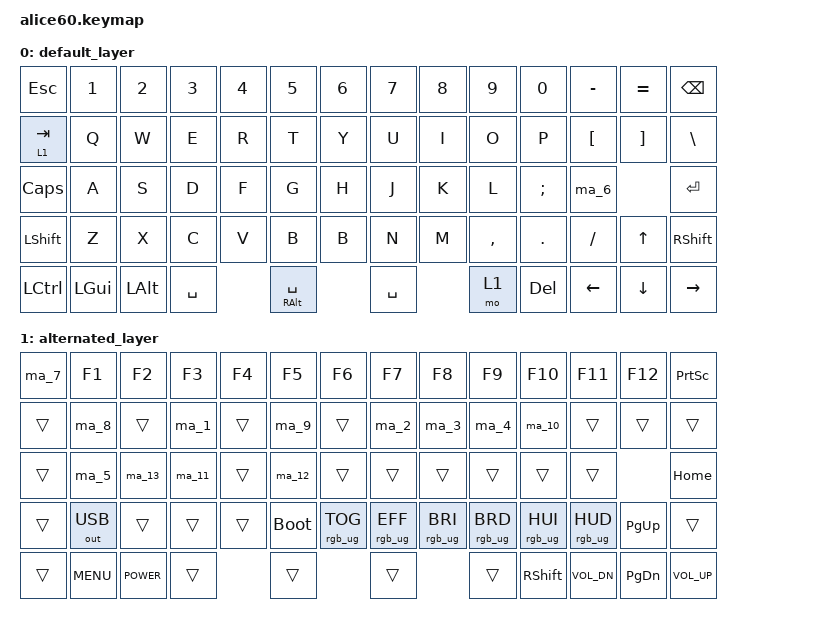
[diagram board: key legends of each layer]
/*
 * Copyright (c) 2020 The ZMK Contributors
 *
 * SPDX-License-Identifier: MIT
 */

#include <behaviors.dtsi>
#include <dt-bindings/zmk/keys.h>
#include <dt-bindings/zmk/outputs.h>
#include <dt-bindings/zmk/rgb.h>

#define DEF 0
#define ALT 1

/ {
    macros {
        /* è: `E */

        ma_1: ma_1 {
            label = "ma_1";
            compatible = "zmk,behavior-macro";
            #binding-cells = <0>;
            bindings = <&macro_tap>, <&kp GRAVE>, <&macro_tap>, <&kp E>;
        };

        /* ù: `U */

        ma_2: ma_2 {
            label = "ma_2";
            compatible = "zmk,behavior-macro";
            #binding-cells = <0>;
            bindings = <&macro_tap>, <&kp GRAVE>, <&macro_tap>, <&kp U>;
        };

        /* ì: `I */

        ma_3: ma_3 {
            label = "ma_3";
            compatible = "zmk,behavior-macro";
            #binding-cells = <0>;
            bindings = <&macro_tap>, <&kp GRAVE>, <&macro_tap>, <&kp I>;
        };

        /* ò: `O */

        ma_4: ma_4 {
            label = "ma_4";
            compatible = "zmk,behavior-macro";
            #binding-cells = <0>;
            bindings = <&macro_tap>, <&kp GRAVE>, <&macro_tap>, <&kp O>;
        };

        /* à: `A */

        ma_5: ma_5 {
            label = "ma_5";
            compatible = "zmk,behavior-macro";
            #binding-cells = <0>;
            bindings = <&macro_tap>, <&kp GRAVE>, <&macro_tap>, <&kp A>;
        };

        /* ': '  */

        ma_6: ma_6 {
            label = "ma_6";
            compatible = "zmk,behavior-macro";
            #binding-cells = <0>;
            bindings = <&macro_tap>, <&kp SQT>, <&macro_tap>, <&kp SPACE>;
        };

        /* `:`  */

        ma_7: ma_7 {
            label = "ma_7";
            compatible = "zmk,behavior-macro";
            #binding-cells = <0>;
            bindings = <&macro_tap>, <&kp GRAVE>, <&macro_tap>, <&kp SPACE>;
        };

        /* ²: Alt253 */

        ma_8: ma_8 {
            label = "ma_8";
            compatible = "zmk,behavior-macro";
            #binding-cells = <0>;
            bindings =
                <&macro_press>,
                <&kp LALT>,
                <&macro_tap>,
                <&kp KP_N2>,
                <&macro_tap>,
                <&kp KP_N5>,
                <&macro_tap>,
                <&kp KP_N3>,
                <&macro_release>,
                <&kp LALT>;
        };

        /* ~: Alt126 */

        ma_9: ma_9 {
            label = "ma_9";
            compatible = "zmk,behavior-macro";
            #binding-cells = <0>;
            bindings =
                <&macro_press>,
                <&kp LALT>,
                <&macro_tap>,
                <&kp KP_N1>,
                <&macro_tap>,
                <&kp KP_N2>,
                <&macro_tap>,
                <&kp KP_N6>,
                <&macro_release>,
                <&kp LALT>;
        };

        /* ×: Alt0215 */

        ma_10: ma_10 {
            label = "ma_10";
            compatible = "zmk,behavior-macro";
            #binding-cells = <0>;
            bindings =
                <&macro_press>,
                <&kp LALT>,
                <&macro_tap>,
                <&kp KP_N0>,
                <&macro_tap>,
                <&kp KP_N2>,
                <&macro_tap>,
                <&kp KP_N1>,
                <&macro_tap>,
                <&kp KP_N5>,
                <&macro_release>,
                <&kp LALT>;
        };

        /* ÷: Alt0247 */

        ma_11: ma_11 {
            label = "ma_11";
            compatible = "zmk,behavior-macro";
            #binding-cells = <0>;
            bindings =
                <&macro_press>,
                <&kp LALT>,
                <&macro_tap>,
                <&kp KP_N0>,
                <&macro_tap>,
                <&kp KP_N2>,
                <&macro_tap>,
                <&kp KP_N4>,
                <&macro_tap>,
                <&kp KP_N7>,
                <&macro_release>,
                <&kp LALT>;
        };

        ma_12: ma_12 {
            compatible = "zmk,behavior-macro";
            #binding-cells = <0>;
            bindings =
                <&macro_press>,
                <&kp RIGHT_ALT>,
                <&macro_press>,
                <&kp RIGHT_SHIFT>,
                <&macro_tap>,
                <&kp SEMICOLON>,
                <&macro_release>,
                <&kp RIGHT_SHIFT>,
                <&macro_release>,
                <&kp RIGHT_ALT>;

            label = "MA_12";
        };

        ma_13: ma_13 {
            compatible = "zmk,behavior-macro";
            #binding-cells = <0>;
            bindings =
                <&macro_press>,
                <&kp LWIN>,
                <&macro_press>,
                <&kp LEFT_SHIFT>,
                <&macro_tap>,
                <&kp S>,
                <&macro_release>,
                <&kp LEFT_SHIFT>,
                <&macro_release>,
                <&kp LWIN>;

            label = "MA_13";
        };
    };
};

/ {
    behaviors {
        ht: hold_tap {
            compatible = "zmk,behavior-hold-tap";
            label = "Hold Tap";
            #binding-cells = <2>;
            tapping-term-ms = <200>;
            flavor = "tap-preferred";
            bindings = <&kp>, <&kp>;
        };
    };

    keymap {
        compatible = "zmk,keymap";

        default_layer {
            bindings = <
&kp ESC    &kp N1    &kp N2    &kp N3     &kp N4  &kp N5               &kp N6  &kp N7     &kp N8  &kp N9     &kp N0         &kp MINUS         &kp EQUAL          &kp BSPC
&lt 1 TAB  &kp Q     &kp W     &kp E      &kp R   &kp T                &kp Y   &kp U      &kp I   &kp O      &kp P          &kp LEFT_BRACKET  &kp RIGHT_BRACKET  &kp BACKSLASH
&kp CAPS   &kp A     &kp S     &kp D      &kp F   &kp G                &kp H   &kp J      &kp K   &kp L      &kp SEMICOLON  &ma_6                                &kp RET
&kp LSHFT  &kp Z     &kp X     &kp C      &kp V   &kp B                &kp B   &kp N      &kp M   &kp COMMA  &kp DOT        &kp SLASH         &kp UP             &kp RSHFT
&kp LCTRL  &kp LGUI  &kp LALT  &kp SPACE          &mt RIGHT_ALT SPACE          &kp SPACE          &mo 1      &kp DEL        &kp LEFT          &kp DOWN           &kp RIGHT
            >;
        };

        alternated_layer {
            bindings = <
&ma_7   &kp F1        &kp F2       &kp F3  &kp F4  &kp F5       &kp F6           &kp F7           &kp F8           &kp F9           &kp F10          &kp F11          &kp F12        &kp PRINTSCREEN
&trans  &ma_8         &trans       &ma_1   &trans  &ma_9        &trans           &ma_2            &ma_3            &ma_4            &ma_10           &trans           &trans         &trans
&trans  &ma_5         &ma_13       &ma_11  &trans  &ma_12       &trans           &trans           &trans           &trans           &trans           &trans                          &kp HOME
&trans  &out OUT_USB  &trans       &trans  &trans  &bootloader  &rgb_ug RGB_TOG  &rgb_ug RGB_EFF  &rgb_ug RGB_BRI  &rgb_ug RGB_BRD  &rgb_ug RGB_HUI  &rgb_ug RGB_HUD  &kp PAGE_UP    &trans
&trans  &kp C_MENU    &kp C_POWER  &trans          &trans                        &trans                            &trans           &kp RIGHT_SHIFT  &kp C_VOL_DN     &kp PAGE_DOWN  &kp C_VOL_UP
            >;
        };
    };
};
